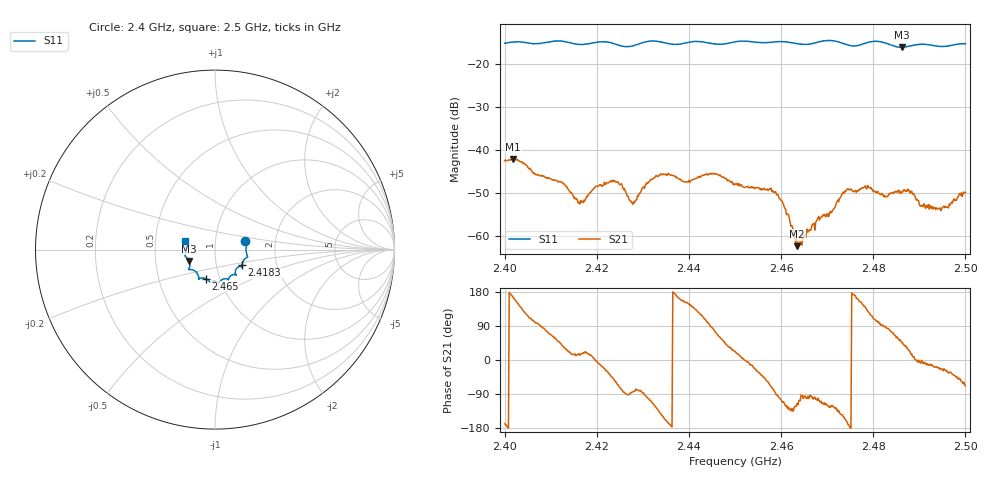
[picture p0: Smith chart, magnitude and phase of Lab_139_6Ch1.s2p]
# Hz S RI R 50
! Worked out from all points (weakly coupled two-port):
!   601 points, 2.4 GHz to 2.5 GHz, reference 50 ohm
!   highest |S21| = -42.04 dB at 2.4018 GHz (marker M1); lowest = -62.3 dB at 2.4635 GHz (marker M2)
!   lowest |S11| = -16.1 dB at 2.4862 GHz (marker M3), VSWR 1.37, Z = 37.2 - j4.83 ohm
!   |S11| at or under -10 dB: start of sweep to end of sweep
!   S12 and S22 are empty: the file has one direction only
!   S11 on the Smith chart (normalised r, x): 2.4 GHz: 1.40, +0.14; 2.4183 GHz: 1.33, -0.24; 2.465 GHz: 0.86, -0.29; 2.5 GHz: 0.71, +0.07
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2.4e9  0.1687 0.0469  -0.0074 -0.00154  0 0  0 0
2.401833e9  0.1772 0.038  -0.00764 0.00205  0 0  0 0
2.4125e9  0.1807 -0.0418  0.00335 0.00262  0 0  0 0
2.416667e9  0.1549 -0.0685  0.00246 0.00071  0 0  0 0
2.418333e9  0.1501 -0.0872  0.00299 0.000834  0 0  0 0
2.423833e9  0.144 -0.0952  0.00272 -0.00352  0 0  0 0
2.428e9  0.1138 -0.1185  0.000331 -0.00249  0 0  0 0
2.433333e9  0.1175 -0.1412  -0.00336 -0.00364  0 0  0 0
2.439333e9  0.0772 -0.1587  -0.00378 0.00206  0 0  0 0
2.445667e9  0.0567 -0.1621  0.00142 0.00517  0 0  0 0
2.45e9  0.0263 -0.1802  0.00372 0.00156  0 0  0 0
2.458833e9  -0.0221 -0.1806  6.36e-05 -0.00329  0 0  0 0
2.4605e9  -0.0281 -0.1811  -0.000825 -0.00222  0 0  0 0
2.4635e9  -0.0386 -0.169  -0.000321 -0.000697  0 0  0 0
2.465e9  -0.0523 -0.1616  -0.000112 -0.00103  0 0  0 0
2.466667e9  -0.0712 -0.1578  -0.000199 -0.0013  0 0  0 0
2.470833e9  -0.0911 -0.165  -0.000956 -0.00162  0 0  0 0
2.474667e9  -0.0983 -0.1338  -0.00347 -0.000563  0 0  0 0
2.483333e9  -0.1412 -0.0966  0.00043 0.00303  0 0  0 0
2.486167e9  -0.1437 -0.0633  0.0023 0.0024  0 0  0 0
2.494333e9  -0.161 -0.00544  0.00199 -0.000736  0 0  0 0
2.5e9  -0.1668 0.0467  0.00121 -0.003  0 0  0 0
